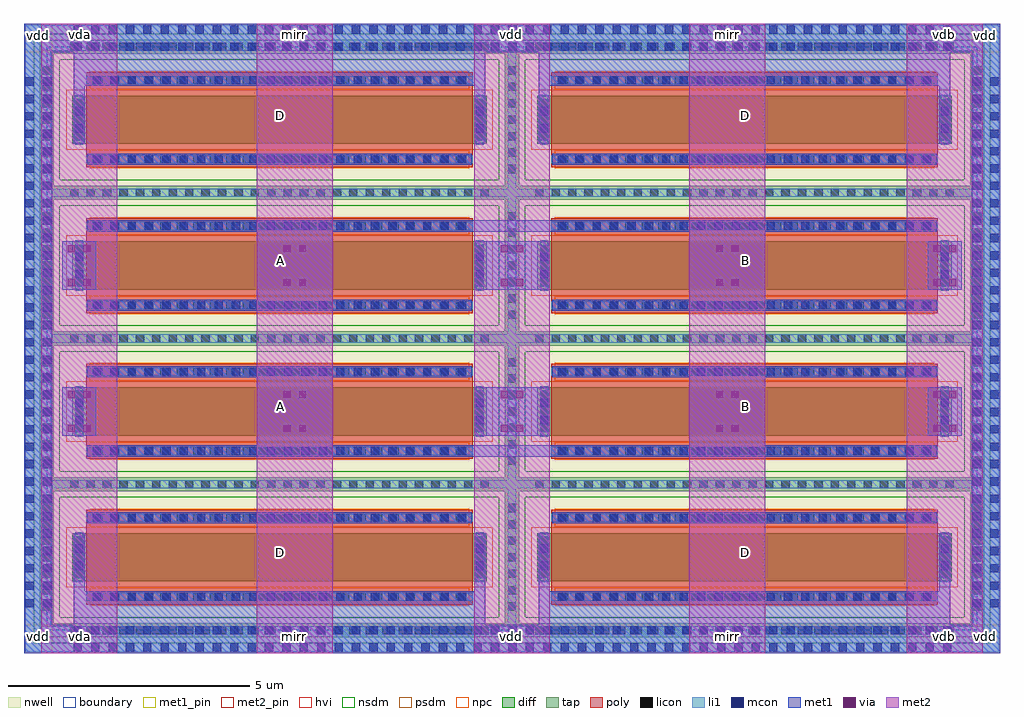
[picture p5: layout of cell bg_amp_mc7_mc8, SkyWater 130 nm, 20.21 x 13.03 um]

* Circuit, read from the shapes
.subckt bg_amp_mc7_mc8 mirr vda vdb vdd
XM1 vdd vdd vdd vdd sky130_fd_pr__pfet_g5v0d10v5 w=1 l=8 m=4
XM2 vdd mirr vda vdd sky130_fd_pr__pfet_g5v0d10v5 w=1 l=8 m=2
XM3 vdb mirr vdd vdd sky130_fd_pr__pfet_g5v0d10v5 w=1 l=8 m=2
.ends

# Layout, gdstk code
from math import pi, radians
import gdstk
lib = gdstk.Library(unit=1e-6, precision=1e-09)
def R(c, l, rs):  # rectangles x0, y0, x1, y1
    for r in rs: c.add(gdstk.rectangle(r[:2], r[2:], *l))
def A(c, l, x, y, w, h, nx, ny, dx, dy):  # array of equal rectangles
    R(c, l, [(x+i*dx, y+j*dy, x+i*dx+w, y+j*dy+h) for i in range(nx) for j in range(ny)])
def P(c, l, *ps):  # polygons
    for p in ps: c.add(gdstk.Polygon(p, *l))
nwell = (64, 20)
diff = (65, 20)
tap = (65, 44)
poly = (66, 20)
licon = (66, 44)
li1 = (67, 20)
mcon = (67, 44)
met1_pin = (68, 16)
met1 = (68, 20)
via = (68, 44)
met2_pin = (69, 16)
met2 = (69, 20)
hvi = (75, 20)
nsdm = (93, 44)
psdm = (94, 20)
npc = (95, 20)
boundary = (235, 4)

via__li_m1 = lib.new_cell('via__LI_M1')
R(via__li_m1, li1, [(0.03,0.03,0.56,0.2)])
R(via__li_m1, mcon, [(0.03,0.03,0.2,0.2), (0.39,0.03,0.56,0.2)])
R(via__li_m1, met1, [(0,0,0.59,0.23)])

via__m1_m2 = lib.new_cell('via__M1_M2')
R(via__m1_m2, met1, [(0,0.05,0.7,0.35)])
R(via__m1_m2, via, [(0.115,0.125,0.265,0.275), (0.435,0.125,0.585,0.275)])
R(via__m1_m2, met2, [(0.05,0,0.65,0.4)])

bg_amp_mc7_mc8_ds_cont = lib.new_cell('bg_amp_mc7_mc8_ds_cont')
R(bg_amp_mc7_mc8_ds_cont, met1, [(0,0.05,0.7,1.05)])
R(bg_amp_mc7_mc8_ds_cont, met2, [(0.05,0,0.65,1.1)])
bg_amp_mc7_mc8_ds_cont.add(gdstk.Reference(via__m1_m2, (0,0)))
bg_amp_mc7_mc8_ds_cont.add(gdstk.Reference(via__m1_m2, (0,0.7)))

sky130_fd_pr__pfet_g5v0d = lib.new_cell('sky130_fd_pr__pfet_g5v0d10v5_KV9UWT')
R(sky130_fd_pr__pfet_g5v0d, nwell, [(0,0,10.58,3.97)])
R(sky130_fd_pr__pfet_g5v0d, diff, [(1,1.485,9.58,2.485)])
R(sky130_fd_pr__pfet_g5v0d, tap, [(0.33,0.33,10.25,0.62), (0.33,0.62,0.62,3.35), (9.96,0.62,10.25,3.35), (0.33,3.35,10.25,3.64)])
R(sky130_fd_pr__pfet_g5v0d, poly, [(1.29,1,9.29,2.97)])
A(sky130_fd_pr__pfet_g5v0d, licon, 0.955, 0.39, 0.17, 0.17, 26, 2, 0.34, 3.02)
A(sky130_fd_pr__pfet_g5v0d, licon, 0.39, 0.88, 0.17, 0.17, 1, 7, 0, 0.34)
A(sky130_fd_pr__pfet_g5v0d, licon, 10.02, 0.88, 0.17, 0.17, 1, 7, 0, 0.34)
A(sky130_fd_pr__pfet_g5v0d, licon, 1.465, 1.08, 0.17, 0.17, 23, 2, 0.34, 1.64)
A(sky130_fd_pr__pfet_g5v0d, licon, 1.06, 1.56, 0.17, 0.17, 1, 3, 0, 0.34)
A(sky130_fd_pr__pfet_g5v0d, licon, 9.35, 1.56, 0.17, 0.17, 1, 3, 0, 0.34)
R(sky130_fd_pr__pfet_g5v0d, li1, [(0.39,0.39,10.19,0.56), (0.39,0.56,0.56,3.41), (10.02,0.56,10.19,3.41), (1.29,1.08,9.29,1.25), (1.06,1.465,1.23,2.505), (9.35,1.465,9.52,2.505), (1.29,2.72,9.29,2.89), (0.39,3.41,10.19,3.58)])
A(sky130_fd_pr__pfet_g5v0d, mcon, 1.425, 1.08, 0.17, 0.17, 22, 2, 0.36, 1.64)
R(sky130_fd_pr__pfet_g5v0d, mcon, [(1.06,1.72,1.23,1.89), (9.35,1.72,9.52,1.89), (1.06,2.08,1.23,2.25), (9.35,2.08,9.52,2.25)])
R(sky130_fd_pr__pfet_g5v0d, met1, [(1.31,1.05,9.27,1.28), (1.03,1.485,1.26,2.485), (9.32,1.485,9.55,2.485), (1.31,2.69,9.27,2.92)])
R(sky130_fd_pr__pfet_g5v0d, hvi, [(0,0,10.58,3.97)])
R(sky130_fd_pr__pfet_g5v0d, nsdm, [(0.205,0.205,10.375,0.745), (0.205,0.745,0.745,3.225), (9.835,0.745,10.375,3.225), (0.205,3.225,10.375,3.765)])
R(sky130_fd_pr__pfet_g5v0d, psdm, [(0.875,1.36,9.705,2.61)])
R(sky130_fd_pr__pfet_g5v0d, npc, [(1.365,0.98,9.215,1.35), (1.365,2.62,9.215,2.99)])
R(sky130_fd_pr__pfet_g5v0d, boundary, [(0.475,0.475,10.105,3.495)])

bg_amp_mc7_mc8 = lib.new_cell('bg_amp_mc7_mc8')
R(bg_amp_mc7_mc8, li1, [(0.03,0.03,0.56,13), (0.03,0.03,20.18,0.56), (19.65,0.03,20.18,13), (0.03,12.47,20.18,13)])
R(bg_amp_mc7_mc8, met1_pin, [(0,0,0.59,0.59), (19.62,0,20.21,0.59), (0,12.44,0.59,13.03), (19.62,12.44,20.21,13.03)])
R(bg_amp_mc7_mc8, met1, [(0,0,0.59,13.03), (0,0,20.21,0.59), (19.62,0,20.21,13.03), (1.31,4.07,18.9,4.3), (4.82,4.3,6.39,5.71), (13.78,4.3,15.35,5.71), (9.32,4.505,10.89,5.505), (4.82,7.32,6.39,8.73), (13.78,7.32,15.35,8.73), (9.32,7.525,10.89,8.525), (1.31,8.73,18.9,8.96), (0,12.44,20.21,13.03)])
P(bg_amp_mc7_mc8, met1, [(1.03,0.59),(1.03,1.485),(1.26,1.485),(1.26,1.28),(1.31,1.28),(1.31,1.05),(9.27,1.05),(9.27,1.28),(9.32,1.28),(9.32,1.485),(9.55,1.485),(9.55,0.59)],
  [(10.66,0.59),(10.66,1.485),(10.89,1.485),(10.89,1.28),(10.94,1.28),(10.94,1.05),(18.9,1.05),(18.9,1.28),(18.95,1.28),(18.95,1.485),(19.18,1.485),(19.18,0.59)],
  [(1.03,11.545),(1.03,12.44),(9.55,12.44),(9.55,11.545),(9.32,11.545),(9.32,11.75),(9.27,11.75),(9.27,11.98),(1.31,11.98),(1.31,11.75),(1.26,11.75),(1.26,11.545)],
  [(10.66,11.545),(10.66,12.44),(19.18,12.44),(19.18,11.545),(18.95,11.545),(18.95,11.75),(18.9,11.75),(18.9,11.98),(10.94,11.98),(10.94,11.75),(10.89,11.75),(10.89,11.545)])
R(bg_amp_mc7_mc8, met2_pin, [(0.36,0,1.93,0.56), (4.82,0,6.39,0.56), (9.32,0,10.89,0.56), (13.78,0,15.35,0.56), (18.28,0,19.85,0.56), (0.36,12.47,1.93,13.03), (4.82,12.47,6.39,13.03), (9.32,12.47,10.89,13.03), (13.78,12.47,15.35,13.03), (18.28,12.47,19.85,13.03)])
R(bg_amp_mc7_mc8, met2, [(0.36,0,1.93,13.03), (4.82,0,6.39,13.03), (9.32,0,10.89,13.03), (13.78,0,15.35,13.03), (18.28,0,19.85,13.03)])
bg_amp_mc7_mc8.add(gdstk.Reference(via__li_m1, (0.59,1.15), rotation=pi))
bg_amp_mc7_mc8.add(gdstk.Reference(via__li_m1, (20.21,1.15), rotation=pi))
bg_amp_mc7_mc8.add(gdstk.Reference(via__li_m1, (0.59,1.51), rotation=pi))
bg_amp_mc7_mc8.add(gdstk.Reference(via__li_m1, (20.21,1.51), rotation=pi))
bg_amp_mc7_mc8.add(gdstk.Reference(via__li_m1, (0.59,1.87), rotation=pi))
bg_amp_mc7_mc8.add(gdstk.Reference(via__li_m1, (20.21,1.87), rotation=pi))
bg_amp_mc7_mc8.add(gdstk.Reference(via__li_m1, (0.59,2.23), rotation=pi))
bg_amp_mc7_mc8.add(gdstk.Reference(via__li_m1, (20.21,2.23), rotation=pi))
bg_amp_mc7_mc8.add(gdstk.Reference(via__li_m1, (0.59,2.59), rotation=pi))
bg_amp_mc7_mc8.add(gdstk.Reference(via__li_m1, (20.21,2.59), rotation=pi))
bg_amp_mc7_mc8.add(gdstk.Reference(via__li_m1, (0.59,2.95), rotation=pi))
bg_amp_mc7_mc8.add(gdstk.Reference(via__li_m1, (20.21,2.95), rotation=pi))
bg_amp_mc7_mc8.add(gdstk.Reference(via__li_m1, (0.59,3.31), rotation=pi))
bg_amp_mc7_mc8.add(gdstk.Reference(via__li_m1, (20.21,3.31), rotation=pi))
bg_amp_mc7_mc8.add(gdstk.Reference(via__li_m1, (0.59,3.67), rotation=pi))
bg_amp_mc7_mc8.add(gdstk.Reference(via__li_m1, (20.21,3.67), rotation=pi))
bg_amp_mc7_mc8.add(gdstk.Reference(via__li_m1, (0.59,4.03), rotation=pi))
bg_amp_mc7_mc8.add(gdstk.Reference(via__li_m1, (20.21,4.03), rotation=pi))
bg_amp_mc7_mc8.add(gdstk.Reference(via__li_m1, (0.59,4.39), rotation=pi))
bg_amp_mc7_mc8.add(gdstk.Reference(via__li_m1, (20.21,4.39), rotation=pi))
bg_amp_mc7_mc8.add(gdstk.Reference(via__li_m1, (0.59,4.75), rotation=pi))
bg_amp_mc7_mc8.add(gdstk.Reference(via__li_m1, (20.21,4.75), rotation=pi))
bg_amp_mc7_mc8.add(gdstk.Reference(via__li_m1, (0.59,5.11), rotation=pi))
bg_amp_mc7_mc8.add(gdstk.Reference(via__li_m1, (20.21,5.11), rotation=pi))
bg_amp_mc7_mc8.add(gdstk.Reference(via__li_m1, (0.59,5.47), rotation=pi))
bg_amp_mc7_mc8.add(gdstk.Reference(via__li_m1, (20.21,5.47), rotation=pi))
bg_amp_mc7_mc8.add(gdstk.Reference(via__li_m1, (0.59,5.83), rotation=pi))
bg_amp_mc7_mc8.add(gdstk.Reference(via__li_m1, (20.21,5.83), rotation=pi))
bg_amp_mc7_mc8.add(gdstk.Reference(via__li_m1, (0.59,6.19), rotation=pi))
bg_amp_mc7_mc8.add(gdstk.Reference(via__li_m1, (20.21,6.19), rotation=pi))
bg_amp_mc7_mc8.add(gdstk.Reference(via__li_m1, (0.59,6.55), rotation=pi))
bg_amp_mc7_mc8.add(gdstk.Reference(via__li_m1, (20.21,6.55), rotation=pi))
bg_amp_mc7_mc8.add(gdstk.Reference(via__li_m1, (0.59,6.91), rotation=pi))
bg_amp_mc7_mc8.add(gdstk.Reference(via__li_m1, (20.21,6.91), rotation=pi))
bg_amp_mc7_mc8.add(gdstk.Reference(via__li_m1, (0.59,7.27), rotation=pi))
bg_amp_mc7_mc8.add(gdstk.Reference(via__li_m1, (20.21,7.27), rotation=pi))
bg_amp_mc7_mc8.add(gdstk.Reference(via__li_m1, (0.59,7.63), rotation=pi))
bg_amp_mc7_mc8.add(gdstk.Reference(via__li_m1, (20.21,7.63), rotation=pi))
bg_amp_mc7_mc8.add(gdstk.Reference(via__li_m1, (0.59,7.99), rotation=pi))
bg_amp_mc7_mc8.add(gdstk.Reference(via__li_m1, (20.21,7.99), rotation=pi))
bg_amp_mc7_mc8.add(gdstk.Reference(via__li_m1, (0.59,8.35), rotation=pi))
bg_amp_mc7_mc8.add(gdstk.Reference(via__li_m1, (20.21,8.35), rotation=pi))
bg_amp_mc7_mc8.add(gdstk.Reference(via__li_m1, (0.59,8.71), rotation=pi))
bg_amp_mc7_mc8.add(gdstk.Reference(via__li_m1, (20.21,8.71), rotation=pi))
bg_amp_mc7_mc8.add(gdstk.Reference(via__li_m1, (0.59,9.07), rotation=pi))
bg_amp_mc7_mc8.add(gdstk.Reference(via__li_m1, (20.21,9.07), rotation=pi))
bg_amp_mc7_mc8.add(gdstk.Reference(via__li_m1, (0.59,9.43), rotation=pi))
bg_amp_mc7_mc8.add(gdstk.Reference(via__li_m1, (20.21,9.43), rotation=pi))
bg_amp_mc7_mc8.add(gdstk.Reference(via__li_m1, (0.59,9.79), rotation=pi))
bg_amp_mc7_mc8.add(gdstk.Reference(via__li_m1, (20.21,9.79), rotation=pi))
bg_amp_mc7_mc8.add(gdstk.Reference(via__li_m1, (0.59,10.15), rotation=pi))
bg_amp_mc7_mc8.add(gdstk.Reference(via__li_m1, (20.21,10.15), rotation=pi))
bg_amp_mc7_mc8.add(gdstk.Reference(via__li_m1, (0.59,10.51), rotation=pi))
bg_amp_mc7_mc8.add(gdstk.Reference(via__li_m1, (20.21,10.51), rotation=pi))
bg_amp_mc7_mc8.add(gdstk.Reference(via__li_m1, (0.59,10.87), rotation=pi))
bg_amp_mc7_mc8.add(gdstk.Reference(via__li_m1, (20.21,10.87), rotation=pi))
bg_amp_mc7_mc8.add(gdstk.Reference(via__li_m1, (0.59,11.23), rotation=pi))
bg_amp_mc7_mc8.add(gdstk.Reference(via__li_m1, (20.21,11.23), rotation=pi))
bg_amp_mc7_mc8.add(gdstk.Reference(via__li_m1, (0.59,11.59), rotation=pi))
bg_amp_mc7_mc8.add(gdstk.Reference(via__li_m1, (20.21,11.59), rotation=pi))
bg_amp_mc7_mc8.add(gdstk.Reference(via__li_m1, (0.59,11.95), rotation=pi))
bg_amp_mc7_mc8.add(gdstk.Reference(via__li_m1, (20.21,11.95), rotation=pi))
bg_amp_mc7_mc8.add(gdstk.Reference(via__li_m1, (1,12.44), rotation=pi/2, x_reflection=True))
bg_amp_mc7_mc8.add(gdstk.Reference(via__li_m1, (1.36,12.44), rotation=pi/2, x_reflection=True))
bg_amp_mc7_mc8.add(gdstk.Reference(via__li_m1, (1.72,12.44), rotation=pi/2, x_reflection=True))
bg_amp_mc7_mc8.add(gdstk.Reference(via__li_m1, (2.08,12.44), rotation=pi/2, x_reflection=True))
bg_amp_mc7_mc8.add(gdstk.Reference(via__li_m1, (2.44,12.44), rotation=pi/2, x_reflection=True))
bg_amp_mc7_mc8.add(gdstk.Reference(via__li_m1, (2.8,12.44), rotation=pi/2, x_reflection=True))
bg_amp_mc7_mc8.add(gdstk.Reference(via__li_m1, (3.16,12.44), rotation=pi/2, x_reflection=True))
bg_amp_mc7_mc8.add(gdstk.Reference(via__li_m1, (3.52,12.44), rotation=pi/2, x_reflection=True))
bg_amp_mc7_mc8.add(gdstk.Reference(via__li_m1, (3.88,12.44), rotation=pi/2, x_reflection=True))
bg_amp_mc7_mc8.add(gdstk.Reference(via__li_m1, (4.24,12.44), rotation=pi/2, x_reflection=True))
bg_amp_mc7_mc8.add(gdstk.Reference(via__li_m1, (4.6,12.44), rotation=pi/2, x_reflection=True))
bg_amp_mc7_mc8.add(gdstk.Reference(via__li_m1, (4.96,12.44), rotation=pi/2, x_reflection=True))
bg_amp_mc7_mc8.add(gdstk.Reference(via__li_m1, (5.32,12.44), rotation=pi/2, x_reflection=True))
bg_amp_mc7_mc8.add(gdstk.Reference(via__li_m1, (5.68,12.44), rotation=pi/2, x_reflection=True))
bg_amp_mc7_mc8.add(gdstk.Reference(via__li_m1, (6.04,12.44), rotation=pi/2, x_reflection=True))
bg_amp_mc7_mc8.add(gdstk.Reference(via__li_m1, (6.4,12.44), rotation=pi/2, x_reflection=True))
bg_amp_mc7_mc8.add(gdstk.Reference(via__li_m1, (6.76,12.44), rotation=pi/2, x_reflection=True))
bg_amp_mc7_mc8.add(gdstk.Reference(via__li_m1, (7.12,12.44), rotation=pi/2, x_reflection=True))
bg_amp_mc7_mc8.add(gdstk.Reference(via__li_m1, (7.48,12.44), rotation=pi/2, x_reflection=True))
bg_amp_mc7_mc8.add(gdstk.Reference(via__li_m1, (7.84,12.44), rotation=pi/2, x_reflection=True))
bg_amp_mc7_mc8.add(gdstk.Reference(via__li_m1, (8.2,12.44), rotation=pi/2, x_reflection=True))
bg_amp_mc7_mc8.add(gdstk.Reference(via__li_m1, (8.56,12.44), rotation=pi/2, x_reflection=True))
bg_amp_mc7_mc8.add(gdstk.Reference(via__li_m1, (8.92,12.44), rotation=pi/2, x_reflection=True))
bg_amp_mc7_mc8.add(gdstk.Reference(via__li_m1, (9.28,12.44), rotation=pi/2, x_reflection=True))
bg_amp_mc7_mc8.add(gdstk.Reference(via__li_m1, (9.64,12.44), rotation=pi/2, x_reflection=True))
bg_amp_mc7_mc8.add(gdstk.Reference(via__li_m1, (10,12.44), rotation=pi/2, x_reflection=True))
bg_amp_mc7_mc8.add(gdstk.Reference(via__li_m1, (10.36,12.44), rotation=pi/2, x_reflection=True))
bg_amp_mc7_mc8.add(gdstk.Reference(via__li_m1, (10.72,12.44), rotation=pi/2, x_reflection=True))
bg_amp_mc7_mc8.add(gdstk.Reference(via__li_m1, (11.08,12.44), rotation=pi/2, x_reflection=True))
bg_amp_mc7_mc8.add(gdstk.Reference(via__li_m1, (11.44,12.44), rotation=pi/2, x_reflection=True))
bg_amp_mc7_mc8.add(gdstk.Reference(via__li_m1, (11.8,12.44), rotation=pi/2, x_reflection=True))
bg_amp_mc7_mc8.add(gdstk.Reference(via__li_m1, (12.16,12.44), rotation=pi/2, x_reflection=True))
bg_amp_mc7_mc8.add(gdstk.Reference(via__li_m1, (12.52,12.44), rotation=pi/2, x_reflection=True))
bg_amp_mc7_mc8.add(gdstk.Reference(via__li_m1, (12.88,12.44), rotation=pi/2, x_reflection=True))
bg_amp_mc7_mc8.add(gdstk.Reference(via__li_m1, (13.24,12.44), rotation=pi/2, x_reflection=True))
bg_amp_mc7_mc8.add(gdstk.Reference(via__li_m1, (13.6,12.44), rotation=pi/2, x_reflection=True))
bg_amp_mc7_mc8.add(gdstk.Reference(via__li_m1, (13.96,12.44), rotation=pi/2, x_reflection=True))
bg_amp_mc7_mc8.add(gdstk.Reference(via__li_m1, (14.32,12.44), rotation=pi/2, x_reflection=True))
bg_amp_mc7_mc8.add(gdstk.Reference(via__li_m1, (14.68,12.44), rotation=pi/2, x_reflection=True))
bg_amp_mc7_mc8.add(gdstk.Reference(via__li_m1, (15.04,12.44), rotation=pi/2, x_reflection=True))
bg_amp_mc7_mc8.add(gdstk.Reference(via__li_m1, (15.4,12.44), rotation=pi/2, x_reflection=True))
bg_amp_mc7_mc8.add(gdstk.Reference(via__li_m1, (15.76,12.44), rotation=pi/2, x_reflection=True))
bg_amp_mc7_mc8.add(gdstk.Reference(via__li_m1, (16.12,12.44), rotation=pi/2, x_reflection=True))
bg_amp_mc7_mc8.add(gdstk.Reference(via__li_m1, (16.48,12.44), rotation=pi/2, x_reflection=True))
bg_amp_mc7_mc8.add(gdstk.Reference(via__li_m1, (16.84,12.44), rotation=pi/2, x_reflection=True))
bg_amp_mc7_mc8.add(gdstk.Reference(via__li_m1, (17.2,12.44), rotation=pi/2, x_reflection=True))
bg_amp_mc7_mc8.add(gdstk.Reference(via__li_m1, (17.56,12.44), rotation=pi/2, x_reflection=True))
bg_amp_mc7_mc8.add(gdstk.Reference(via__li_m1, (17.92,12.44), rotation=pi/2, x_reflection=True))
bg_amp_mc7_mc8.add(gdstk.Reference(via__li_m1, (18.28,12.44), rotation=pi/2, x_reflection=True))
bg_amp_mc7_mc8.add(gdstk.Reference(via__li_m1, (18.64,12.44), rotation=pi/2, x_reflection=True))
bg_amp_mc7_mc8.add(gdstk.Reference(via__li_m1, (19,12.44), rotation=pi/2, x_reflection=True))
bg_amp_mc7_mc8.add(gdstk.Reference(via__li_m1, (1,0.59), rotation=3*pi/2))
bg_amp_mc7_mc8.add(gdstk.Reference(via__li_m1, (1.36,0.59), rotation=3*pi/2))
bg_amp_mc7_mc8.add(gdstk.Reference(via__li_m1, (1.72,0.59), rotation=3*pi/2))
bg_amp_mc7_mc8.add(gdstk.Reference(via__li_m1, (2.08,0.59), rotation=3*pi/2))
bg_amp_mc7_mc8.add(gdstk.Reference(via__li_m1, (2.44,0.59), rotation=3*pi/2))
bg_amp_mc7_mc8.add(gdstk.Reference(via__li_m1, (2.8,0.59), rotation=3*pi/2))
bg_amp_mc7_mc8.add(gdstk.Reference(via__li_m1, (3.16,0.59), rotation=3*pi/2))
bg_amp_mc7_mc8.add(gdstk.Reference(via__li_m1, (3.52,0.59), rotation=3*pi/2))
bg_amp_mc7_mc8.add(gdstk.Reference(via__li_m1, (3.88,0.59), rotation=3*pi/2))
bg_amp_mc7_mc8.add(gdstk.Reference(via__li_m1, (4.24,0.59), rotation=3*pi/2))
bg_amp_mc7_mc8.add(gdstk.Reference(via__li_m1, (4.6,0.59), rotation=3*pi/2))
bg_amp_mc7_mc8.add(gdstk.Reference(via__li_m1, (4.96,0.59), rotation=3*pi/2))
bg_amp_mc7_mc8.add(gdstk.Reference(via__li_m1, (5.32,0.59), rotation=3*pi/2))
bg_amp_mc7_mc8.add(gdstk.Reference(via__li_m1, (5.68,0.59), rotation=3*pi/2))
bg_amp_mc7_mc8.add(gdstk.Reference(via__li_m1, (6.04,0.59), rotation=3*pi/2))
bg_amp_mc7_mc8.add(gdstk.Reference(via__li_m1, (6.4,0.59), rotation=3*pi/2))
bg_amp_mc7_mc8.add(gdstk.Reference(via__li_m1, (6.76,0.59), rotation=3*pi/2))
bg_amp_mc7_mc8.add(gdstk.Reference(via__li_m1, (7.12,0.59), rotation=3*pi/2))
bg_amp_mc7_mc8.add(gdstk.Reference(via__li_m1, (7.48,0.59), rotation=3*pi/2))
bg_amp_mc7_mc8.add(gdstk.Reference(via__li_m1, (7.84,0.59), rotation=3*pi/2))
bg_amp_mc7_mc8.add(gdstk.Reference(via__li_m1, (8.2,0.59), rotation=3*pi/2))
bg_amp_mc7_mc8.add(gdstk.Reference(via__li_m1, (8.56,0.59), rotation=3*pi/2))
bg_amp_mc7_mc8.add(gdstk.Reference(via__li_m1, (8.92,0.59), rotation=3*pi/2))
bg_amp_mc7_mc8.add(gdstk.Reference(via__li_m1, (9.28,0.59), rotation=3*pi/2))
bg_amp_mc7_mc8.add(gdstk.Reference(via__li_m1, (9.64,0.59), rotation=3*pi/2))
bg_amp_mc7_mc8.add(gdstk.Reference(via__li_m1, (10,0.59), rotation=3*pi/2))
bg_amp_mc7_mc8.add(gdstk.Reference(via__li_m1, (10.36,0.59), rotation=3*pi/2))
bg_amp_mc7_mc8.add(gdstk.Reference(via__li_m1, (10.72,0.59), rotation=3*pi/2))
bg_amp_mc7_mc8.add(gdstk.Reference(via__li_m1, (11.08,0.59), rotation=3*pi/2))
bg_amp_mc7_mc8.add(gdstk.Reference(via__li_m1, (11.44,0.59), rotation=3*pi/2))
bg_amp_mc7_mc8.add(gdstk.Reference(via__li_m1, (11.8,0.59), rotation=3*pi/2))
bg_amp_mc7_mc8.add(gdstk.Reference(via__li_m1, (12.16,0.59), rotation=3*pi/2))
bg_amp_mc7_mc8.add(gdstk.Reference(via__li_m1, (12.52,0.59), rotation=3*pi/2))
bg_amp_mc7_mc8.add(gdstk.Reference(via__li_m1, (12.88,0.59), rotation=3*pi/2))
bg_amp_mc7_mc8.add(gdstk.Reference(via__li_m1, (13.24,0.59), rotation=3*pi/2))
bg_amp_mc7_mc8.add(gdstk.Reference(via__li_m1, (13.6,0.59), rotation=3*pi/2))
bg_amp_mc7_mc8.add(gdstk.Reference(via__li_m1, (13.96,0.59), rotation=3*pi/2))
bg_amp_mc7_mc8.add(gdstk.Reference(via__li_m1, (14.32,0.59), rotation=3*pi/2))
bg_amp_mc7_mc8.add(gdstk.Reference(via__li_m1, (14.68,0.59), rotation=3*pi/2))
bg_amp_mc7_mc8.add(gdstk.Reference(via__li_m1, (15.04,0.59), rotation=3*pi/2))
bg_amp_mc7_mc8.add(gdstk.Reference(via__li_m1, (15.4,0.59), rotation=3*pi/2))
bg_amp_mc7_mc8.add(gdstk.Reference(via__li_m1, (15.76,0.59), rotation=3*pi/2))
bg_amp_mc7_mc8.add(gdstk.Reference(via__li_m1, (16.12,0.59), rotation=3*pi/2))
bg_amp_mc7_mc8.add(gdstk.Reference(via__li_m1, (16.48,0.59), rotation=3*pi/2))
bg_amp_mc7_mc8.add(gdstk.Reference(via__li_m1, (16.84,0.59), rotation=3*pi/2))
bg_amp_mc7_mc8.add(gdstk.Reference(via__li_m1, (17.2,0.59), rotation=3*pi/2))
bg_amp_mc7_mc8.add(gdstk.Reference(via__li_m1, (17.56,0.59), rotation=3*pi/2))
bg_amp_mc7_mc8.add(gdstk.Reference(via__li_m1, (17.92,0.59), rotation=3*pi/2))
bg_amp_mc7_mc8.add(gdstk.Reference(via__li_m1, (18.28,0.59), rotation=3*pi/2))
bg_amp_mc7_mc8.add(gdstk.Reference(via__li_m1, (18.64,0.59), rotation=3*pi/2))
bg_amp_mc7_mc8.add(gdstk.Reference(via__li_m1, (19,0.59), rotation=3*pi/2))
bg_amp_mc7_mc8.add(gdstk.Reference(bg_amp_mc7_mc8_ds_cont, (0.795,4.455)))
bg_amp_mc7_mc8.add(gdstk.Reference(bg_amp_mc7_mc8_ds_cont, (5.255,4.455)))
bg_amp_mc7_mc8.add(gdstk.Reference(bg_amp_mc7_mc8_ds_cont, (9.755,4.455)))
bg_amp_mc7_mc8.add(gdstk.Reference(bg_amp_mc7_mc8_ds_cont, (14.215,4.455)))
bg_amp_mc7_mc8.add(gdstk.Reference(bg_amp_mc7_mc8_ds_cont, (18.715,4.455)))
bg_amp_mc7_mc8.add(gdstk.Reference(bg_amp_mc7_mc8_ds_cont, (0.795,7.475)))
bg_amp_mc7_mc8.add(gdstk.Reference(bg_amp_mc7_mc8_ds_cont, (5.255,7.475)))
bg_amp_mc7_mc8.add(gdstk.Reference(bg_amp_mc7_mc8_ds_cont, (9.755,7.475)))
bg_amp_mc7_mc8.add(gdstk.Reference(bg_amp_mc7_mc8_ds_cont, (14.215,7.475)))
bg_amp_mc7_mc8.add(gdstk.Reference(bg_amp_mc7_mc8_ds_cont, (18.715,7.475)))
r = gdstk.Reference(sky130_fd_pr__pfet_g5v0d, (0,0)); r.repetition = gdstk.Repetition(2, 4, v1=(9.63,0), v2=(0,3.02)); bg_amp_mc7_mc8.add(r)
bg_amp_mc7_mc8.add(gdstk.Label('B', (14.95,5.1), layer=83, texttype=44))
bg_amp_mc7_mc8.add(gdstk.Label('B', (14.95,8.12), layer=83, texttype=44))
bg_amp_mc7_mc8.add(gdstk.Label('A', (5.32,5.1), layer=83, texttype=44))
bg_amp_mc7_mc8.add(gdstk.Label('A', (5.32,8.12), layer=83, texttype=44))
bg_amp_mc7_mc8.add(gdstk.Label('D', (5.32,2.08), layer=83, texttype=44))
bg_amp_mc7_mc8.add(gdstk.Label('D', (14.95,2.08), layer=83, texttype=44))
bg_amp_mc7_mc8.add(gdstk.Label('D', (5.32,11.14), layer=83, texttype=44))
bg_amp_mc7_mc8.add(gdstk.Label('D', (14.95,11.14), layer=83, texttype=44))
bg_amp_mc7_mc8.add(gdstk.Label('vdb', (19.06,0.35), layer=69, texttype=5))
bg_amp_mc7_mc8.add(gdstk.Label('vdb', (19.06,12.8), layer=69, texttype=5))
bg_amp_mc7_mc8.add(gdstk.Label('mirr', (5.6,0.35), layer=69, texttype=5))
bg_amp_mc7_mc8.add(gdstk.Label('mirr', (14.56,0.35), layer=69, texttype=5))
bg_amp_mc7_mc8.add(gdstk.Label('mirr', (14.56,12.8), layer=69, texttype=5))
bg_amp_mc7_mc8.add(gdstk.Label('mirr', (5.6,12.82), layer=69, texttype=5))
bg_amp_mc7_mc8.add(gdstk.Label('vda', (1.14,0.35), layer=69, texttype=5))
bg_amp_mc7_mc8.add(gdstk.Label('vda', (1.14,12.82), layer=69, texttype=5))
bg_amp_mc7_mc8.add(gdstk.Label('vdd', (10.1,0.35), layer=69, texttype=5))
bg_amp_mc7_mc8.add(gdstk.Label('vdd', (10.1,12.82), layer=69, texttype=5))
bg_amp_mc7_mc8.add(gdstk.Label('vdd', (0.295,0.34), layer=68, texttype=5))
bg_amp_mc7_mc8.add(gdstk.Label('vdd', (19.915,0.34), layer=68, texttype=5))
bg_amp_mc7_mc8.add(gdstk.Label('vdd', (0.295,12.78), layer=68, texttype=5))
bg_amp_mc7_mc8.add(gdstk.Label('vdd', (19.915,12.78), layer=68, texttype=5))

lib.write_gds('bg_amp_mc7_mc8.gds')
